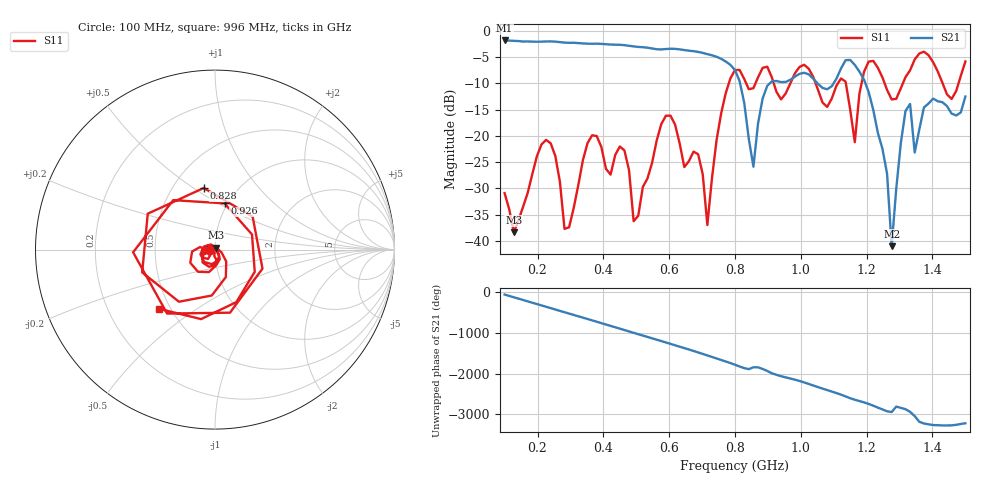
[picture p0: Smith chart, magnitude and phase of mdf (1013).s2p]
! NanoVNA-App
! Date: 2025-09-25 15:46:18
! Start: 100MHz Stop: 1,5GHz Points: 101
! S-Parameter data: F S11 S21 S12 S22
# Hz S RI R 50
!  Frequency  S11_Real  S11_Imag  S21_Real  S21_Imag  S12_Real  S12_Imag  S22_Real  S22_Imag
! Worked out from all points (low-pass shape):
!   101 points, 100 MHz to 1.5 GHz, reference 50 ohm
!   highest |S21| = -1.81 dB at 100 MHz (marker M1); lowest = -41.0 dB at 1.276 GHz (marker M2)
!   |S21| within 3 dB of the highest: start of sweep to 738.6 MHz
!   lowest |S11| = -38.4 dB at 128 MHz (marker M3), VSWR 1.02, Z = 50.4 + j1.14 ohm
!   |S11| at or under -10 dB: start of sweep to 781.2 MHz; 917.8 MHz to 968.1 MHz (50.29 MHz wide, 5.33 % of centre); 1.045 GHz to 1.113 GHz (67.54 MHz wide, 6.26 % of centre) (the widest 3 of 7)
!   S12 and S22 are empty: the file has one direction only
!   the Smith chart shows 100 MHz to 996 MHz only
!   S11 on the Smith chart (normalised r, x): 100 MHz: 0.95, -0.01; 828 MHz: 0.70, +0.55; 926 MHz: 0.97, +0.54; 996 MHz: 0.43, -0.36
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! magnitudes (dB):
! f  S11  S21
! 100 MHz  -30.9  -1.8
! 128 MHz  -38.4  -1.9
! 212 MHz  -21.6  -2.0
! 282 MHz  -37.7  -2.2
! 338 MHz  -24.6  -2.4
! 464 MHz  -22.8  -2.7
! 492 MHz  -36.3  -2.9
! 576 MHz  -17.8  -3.5
! 688 MHz  -23.5  -4.0
! 716 MHz  -37.0  -4.4
! 800 MHz  -7.4  -7.4
! 828 MHz  -9.1  -13.7
! 856 MHz  -10.9  -25.9
! 926 MHz  -11.6  -9.5
! 996 MHz  -6.9  -8.2
! 1.038 GHz  -8.8  -9.1
! 1.136 GHz  -9.7  -5.6
! 1.164 GHz  -21.2  -6.5
! 1.192 GHz  -7.8  -9.3
! 1.276 GHz  -13.0  -41.0
! 1.318 GHz  -8.8  -15.3
! 1.5 GHz  -5.8  -12.5
